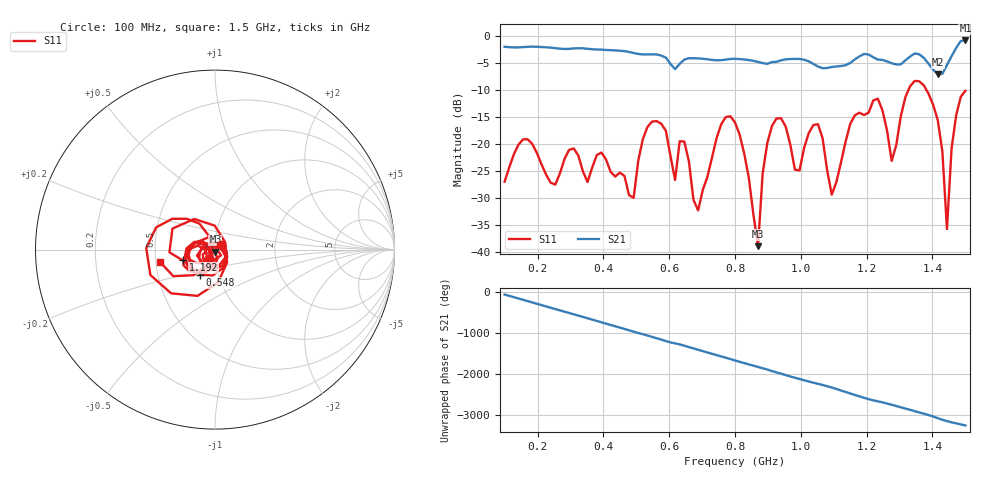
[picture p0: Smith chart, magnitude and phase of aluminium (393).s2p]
! NanoVNA-App
! Date: 2025-09-25 14:58:20
! Start: 100MHz Stop: 1,5GHz Points: 101
! S-Parameter data: F S11 S21 S12 S22
# Hz S RI R 50
!  Frequency  S11_Real  S11_Imag  S21_Real  S21_Imag  S12_Real  S12_Imag  S22_Real  S22_Imag
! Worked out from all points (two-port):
!   101 points, 100 MHz to 1.5 GHz, reference 50 ohm
!   highest |S21| = -0.74 dB at 1.5 GHz (marker M1); lowest = -7.0 dB at 1.416 GHz (marker M2)
!   |S21| within 3 dB of the highest: start of sweep to 583 MHz; 1.457 GHz to end of sweep (the widest 2 of 4)
!   lowest |S11| = -38.9 dB at 870 MHz (marker M3), VSWR 1.02, Z = 50.2 - j1.11 ohm
!   |S11| at or under -10 dB: start of sweep to 1.327 GHz; 1.382 GHz to end of sweep
!   S12 and S22 are empty: the file has one direction only
!   S11 on the Smith chart (normalised r, x): 100 MHz: 1.07, +0.06; 548 MHz: 0.82, -0.24; 1.192 GHz: 0.69, -0.08; 1.5 GHz: 0.53, -0.08
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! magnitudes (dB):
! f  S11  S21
! 100 MHz  -27.0  -1.9
! 156 MHz  -19.1  -2.0
! 338 MHz  -25.1  -2.2
! 492 MHz  -30.0  -3.1
! 548 MHz  -15.8  -3.3
! 576 MHz  -16.2  -3.5
! 646 MHz  -19.5  -4.3
! 688 MHz  -32.3  -4.1
! 800 MHz  -16.0  -4.1
! 870 MHz  -38.9  -4.7
! 912 MHz  -16.7  -4.8
! 996 MHz  -24.9  -4.2
! 1.038 GHz  -16.5  -5.1
! 1.094 GHz  -29.4  -5.7
! 1.192 GHz  -14.6  -3.2
! 1.234 GHz  -11.6  -4.3
! 1.276 GHz  -23.1  -5.0
! 1.346 GHz  -8.2  -3.2
! 1.416 GHz  -15.5  -7.0
! 1.444 GHz  -35.8  -5.3
! 1.458 GHz  -20.8  -3.7
! 1.5 GHz  -10.1  -0.7
